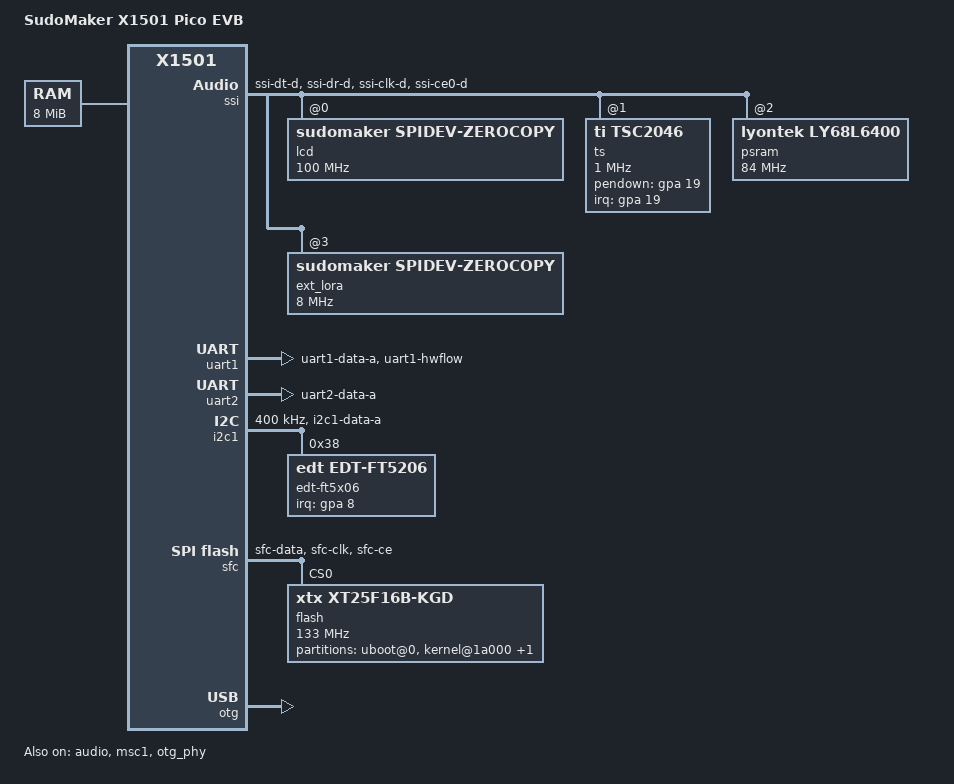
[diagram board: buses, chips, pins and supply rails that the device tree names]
// SPDX-License-Identifier: GPL-2.0
/dts-v1/;

#include "x1501.dtsi"
#include <dt-bindings/gpio/gpio.h>
#include <dt-bindings/input/input.h>
#include <dt-bindings/clock/ingenic,sysost.h>
#include <dt-bindings/interrupt-controller/irq.h>

/ {
	compatible = "sudomaker,x1501-pico-evb", "ingenic,x1501";
	model = "SudoMaker X1501 Pico EVB";

	aliases {
		serial2 = &uart2;
	};

	chosen {
		bootargs = "console=ttyS2,115200n8 mem=8M@0x0 loglevel=7 ingenic_pm_clk=0 devtmpfs.mount=1 lo_prealloc=4 clk_ignore_unused no_hash_pointers";
		stdout-path = "serial2:115200n8";
	};

	memory {
		device_type = "memory";
		reg = <0x0 0x800000>;
	};

};

&exclk {
	clock-frequency = <24000000>;
};

&cgu {
	assigned-clocks = <&cgu X1000_CLK_SSIMUX>, <&cgu X1000_CLK_RTC>;
	assigned-clock-parents = <&cgu X1000_CLK_SSIPLL_DIV2>, <&cgu X1000_CLK_EXCLK_DIV512>;
};

&ost {
	/* 1500 kHz for the system timer and clocksource */
	assigned-clocks = <&ost OST_CLK_EVENT_TIMER>, <&ost OST_CLK_GLOBAL_TIMER>;
	assigned-clock-rates = <1500000>, <1500000>;
};

&ssi {
	status = "okay";

	// MPLL = 552MHz
	assigned-clocks = <&cgu X1000_CLK_SSIPLL>;
	assigned-clock-rates = <100000000>;

	pinctrl-names = "default";
	pinctrl-0 = <&pins_spi0>;

	num-cs = <4>;
	cs-gpios = <0>, <&gpa 18 GPIO_ACTIVE_LOW>, <&gpa 17 GPIO_ACTIVE_LOW>, <&gpa 16 GPIO_ACTIVE_LOW>;

	lcd: lcd@0 {
		reg = <0>;
		compatible = "sudomaker,spidev-zerocopy";

		spi-max-frequency = <100000000>;
	};

	ts: tsc2046@1 {
		reg = <1>;
		compatible = "ti,tsc2046";

		pinctrl-names = "default";
		pinctrl-0 = <&pins_xpt2046>;

		interrupt-parent = <&gpa>;
		interrupts = <19 0>;
		wakeup-source;

		spi-max-frequency = <1000000>;
		pendown-gpio = <&gpa 19 0>;
	};

	psram: ly68@2 {
		reg = <2>;
		compatible = "lyontek,ly68l6400";

		spi-max-frequency = <84000000>;
		lyontek,rx-max-frequency = <34000000>;
		lyontek,op-sleep-ratio = <30>; // 85 degrees C rating
		// lyontek,op-sleep-ratio = <8>; // 105 degrees C rating
	};

	ext_lora: lora@3 {
		reg = <3>;
		compatible = "sudomaker,spidev-zerocopy";

		spi-max-frequency = <8000000>;
	};
};

&uart1 {
	status = "okay";

	pinctrl-names = "default";
	pinctrl-0 = <&pins_uart1>;
};

&uart2 {
	status = "okay";

	pinctrl-names = "default";
	pinctrl-0 = <&pins_uart2>;
};

&audio {
	status = "okay";
};

&i2c1 {
	status = "okay";

	clock-frequency = <400000>;

	pinctrl-names = "default";
	pinctrl-0 = <&pins_i2c1>;

	edt-ft5x06@38 {
		compatible = "edt,edt-ft5206";
		reg = <0x38>;
		interrupt-parent = <&gpa>;
		interrupts = <8 IRQ_TYPE_EDGE_FALLING>;
	};
};

&sfc {
	status = "okay";

	#address-cells = <1>;
	#size-cells = <0>;


	pinctrl-names = "default";
	pinctrl-0 = <&pins_sfc>;

	flash: m25p80@0 {
		compatible = "xtx,xt25f16b-kgd", "jedec,spi-nor";
		spi-max-frequency = <133000000>;
		reg = <0>;

		spi-rx-bus-width = <4>;
		spi-tx-bus-width = <4>;

		partitions {
			compatible = "fixed-partitions";
			#address-cells = <1>;
			#size-cells = <1>;

			uboot@0 {
				reg = <0x0 0x01a000>;
			};

			kernel@1a000 {
				reg = <0x01a000 0x100000>;
			};

			rootfs@100000 {
				reg = <0x11a000 0xe6000>;
			};
		};
	};

};

&msc1 {
	status = "okay";

	bus-width = <4>;
	max-frequency = <25000000>;

	pinctrl-names = "default";
	pinctrl-0 = <&pins_msc1>;

	non-removable;
};

&otg_phy {
	status = "okay";
};

&otg {
	status = "okay";
};

&pinctrl {
	pins_xpt2046: pa19 {
		pins = "PA19";
		bias-pull-up;
	};

	pins_sfc: sfc {
		function = "sfc";
		groups = "sfc-data", "sfc-clk", "sfc-ce";
		bias-disable;
	};

	pins_spi0: spi0 {
		function = "ssi";
		groups = "ssi-dt-d", "ssi-dr-d", "ssi-clk-d", "ssi-ce0-d";
	};

	pins_uart2: uart2 {
		function = "uart2";
		groups = "uart2-data-a";
		bias-pull-up;
	};

	pins_uart1: uart1 {
		function = "uart1";
		groups = "uart1-data-a", "uart1-hwflow";
		bias-pull-up;
	};

	pins_i2c1: i2c1 {
		function = "i2c1";
		groups = "i2c1-data-a";
		bias-pull-up;
	};

	pins_msc1: msc1 {
		function = "mmc1";
		groups = "mmc1-1bit", "mmc1-4bit";
		bias-pull-up;
	};

};
